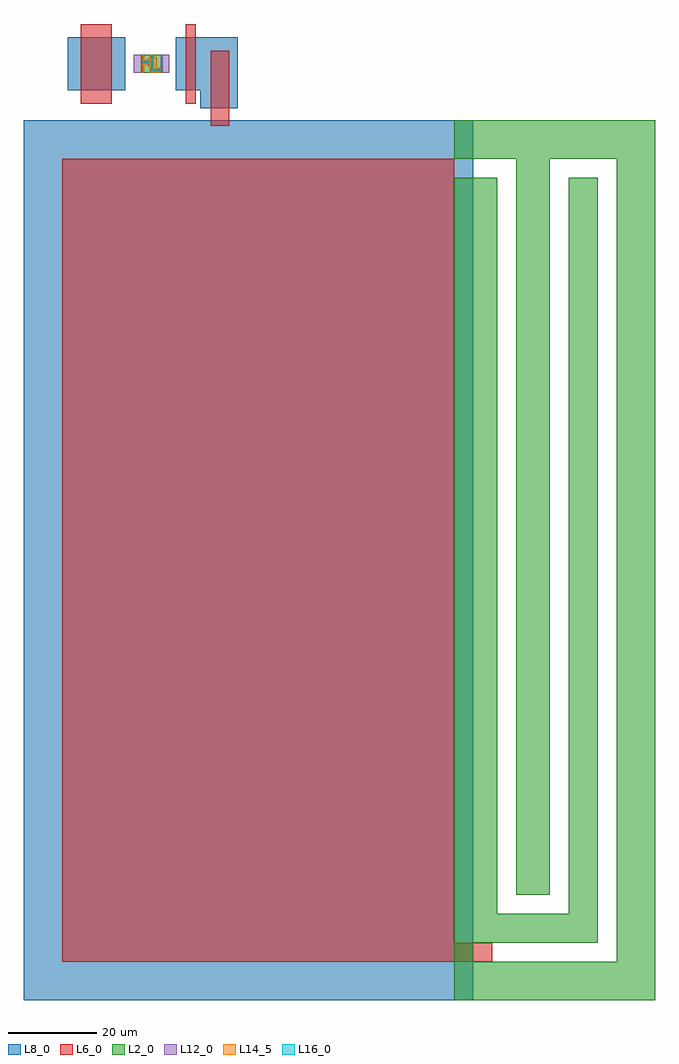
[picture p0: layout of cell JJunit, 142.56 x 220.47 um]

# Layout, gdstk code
import gdstk
lib = gdstk.Library(unit=1e-6, precision=1e-09)
def R(c, l, rs):  # rectangles x0, y0, x1, y1
    for r in rs: c.add(gdstk.rectangle(r[:2], r[2:], *l))
def P(c, l, *ps):  # polygons
    for p in ps: c.add(gdstk.Polygon(p, *l))
L2_0 = (2, 0)
L6_0 = (6, 0)
L8_0 = (8, 0)
L12_0 = (12, 0)
L14_5 = (14, 5)
L16_0 = (16, 0)

jjunit = lib.new_cell('JJunit')
R(jjunit, L2_0, [(-2.5,-2,2.5,2)])
P(jjunit, L2_0, [(68.318,-211.465),(68.318,-25.705),(78.038,-25.705),(78.038,-192.025),(94.238,-192.025),(94.238,-25.705),(100.718,-25.705),(100.718,-198.505),(72.638,-198.505),(72.638,-202.825),(105.038,-202.825),(105.038,-21.385),(89.918,-21.385),(89.918,-187.705),(82.358,-187.705),(82.358,-21.385),(68.318,-21.385),(68.318,-12.745),(113.678,-12.745),(113.678,-211.465)])
R(jjunit, L6_0, [(-20.242,-202.825,68.318,-21.385), (68.318,-202.825,76.958,-198.505), (13.26,-14,17.46,3), (-16.04,-9,-9.04,9), (7.66,-9,9.96,9)])
R(jjunit, L8_0, [(-28.882,-211.465,72.638,-12.745), (-19.04,-6,-6.04,6)])
P(jjunit, L8_0, [(10.96,-10),(10.96,-6),(5.46,-6),(5.46,6),(19.459,6),(19.459,-10)])
R(jjunit, L12_0, [(-4.04,-2,-2.124,2), (1.99,-2,3.99,2)])
R(jjunit, L14_5, [(-2.128,-2,-1.722,2), (-0.51,-2,2.12,-0.9), (-0.51,-0.9,0.65,2), (0.65,-0.731,1.15,1.469), (-0.96,-0.635,-0.51,1.295), (-2.327,-0.18,-0.96,0.84)])
R(jjunit, L16_0, [(-0.16,-1.7,0.3,2), (-0.16,-1.7,2.49,-1.2), (-0.66,-0.32,-0.46,0.98), (-2.317,0.08,-0.66,0.58)])

lib.write_gds('JJunit.gds')
